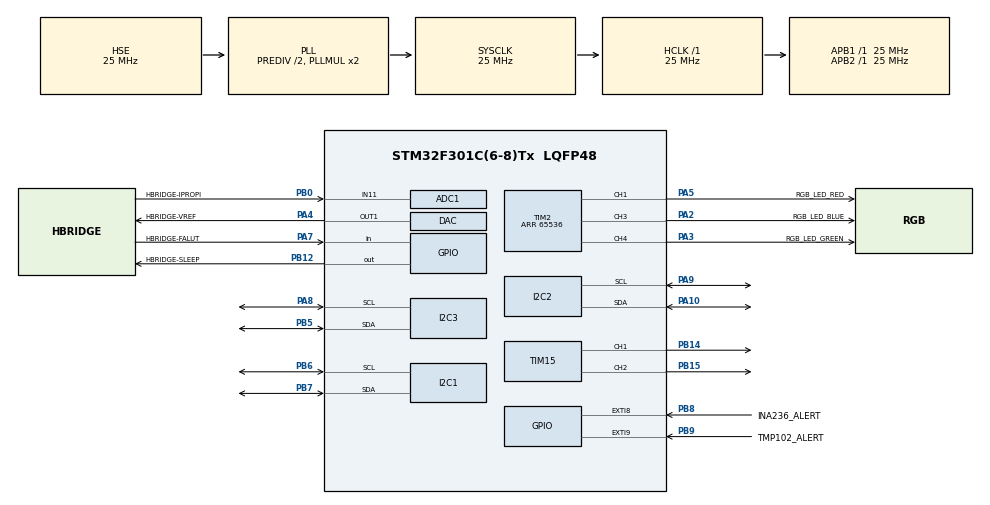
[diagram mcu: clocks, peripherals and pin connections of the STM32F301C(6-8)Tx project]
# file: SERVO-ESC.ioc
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ADC1.Channel-1\#ChannelRegularConversion=ADC_CHANNEL_11
ADC1.NbrOfConversionFlag=1
ADC1.Offset-1\#ChannelRegularConversion=0
ADC1.OffsetNumber-1\#ChannelRegularConversion=ADC_OFFSET_NONE
ADC1.Rank-1\#ChannelRegularConversion=1
ADC1.SamplingTime-1\#ChannelRegularConversion=ADC_SAMPLETIME_1CYCLE_5
ADC1.SamplingTimeOPAMP-1\#ChannelRegularConversion=ADC_SAMPLETIME_4CYCLES_5
ADC1.SubFamily=STM32F301x8
ADC1.master=1
FREERTOS.Tasks01=defaultTask,24,128,StartDefaultTask,Default,NULL,Dynamic,NULL,NULL
I2C1.Timing=0x00201D2B
I2C2.Timing=0x00201D2B
I2C3.Timing=0x00201D2B
Mcu.Family=STM32F3
Mcu.Name=STM32F301C(6-8)Tx
Mcu.Package=LQFP48
NVIC.EXTI9_5_IRQn=true\:5\:0\:false\:false\:true\:true\:true\:true\:true
NVIC.I2C2_ER_IRQn=true\:5\:0\:false\:false\:true\:true\:true\:true\:true
NVIC.I2C2_EV_IRQn=true\:5\:0\:false\:false\:true\:true\:true\:true\:true
NVIC.PriorityGroup=NVIC_PRIORITYGROUP_4
NVIC.TIM6_DAC_IRQn=true\:15\:0\:false\:false\:true\:false\:false\:true\:true
NVIC.TimeBase=TIM6_DAC_IRQn
NVIC.TimeBaseIP=TIM6
PA10.Mode=I2C
PA10.Signal=I2C2_SDA
PA13.Mode=Serial_Wire
PA13.Signal=SYS_JTMS-SWDIO
PA14.Mode=Serial_Wire
PA14.Signal=SYS_JTCK-SWCLK
PA2.GPIO_Label=RGB_LED_BLUE
PA2.Signal=S_TIM2_CH3
PA3.GPIO_Label=RGB_LED_GREEN
PA3.Signal=S_TIM2_CH4
PA4.GPIO_Label=HBRIDGE-VREF
PA4.Signal=COMP_DAC1_group
PA5.GPIO_Label=RGB_LED_RED
PA5.Signal=S_TIM2_CH1_ETR
PA7.GPIO_Label=HBRIDGE-FALUT
PA7.Signal=GPIO_Input
PA8.Mode=I2C
PA8.Signal=I2C3_SCL
PA9.Mode=I2C
PA9.Signal=I2C2_SCL
PB0.GPIO_Label=HBRIDGE-IPROPI
PB0.Mode=IN11-Single-Ended
PB0.Signal=ADC1_IN11
PB12.GPIO_Label=HBRIDGE-SLEEP
PB12.Signal=GPIO_Output
PB14.Signal=S_TIM15_CH1
PB15.Signal=S_TIM15_CH2
PB5.Mode=I2C
PB5.Signal=I2C3_SDA
PB6.Mode=I2C
PB6.Signal=I2C1_SCL
PB7.Mode=I2C
PB7.Signal=I2C1_SDA
PB8.GPIO_Label=INA236_ALERT
PB8.GPIO_ModeDefaultEXTI=GPIO_MODE_IT_FALLING
PB8.Signal=GPXTI8
PB9.GPIO_Label=TMP102_ALERT
PB9.Signal=GPXTI9
PF0-OSC_IN.Mode=HSE-External-Oscillator
PF0-OSC_IN.Signal=RCC_OSC_IN
PF1-OSC_OUT.Mode=HSE-External-Oscillator
PF1-OSC_OUT.Signal=RCC_OSC_OUT
ProjectManager.HeapSize=0x200
ProjectManager.StackSize=0x400
ProjectManager.TargetToolchain=CMake
RCC.AHBFreq_Value=25000000
RCC.APB1Freq_Value=25000000
RCC.APB1TimFreq_Value=25000000
RCC.APB2Freq_Value=25000000
RCC.APB2TimFreq_Value=25000000
RCC.CortexFreq_Value=25000000
RCC.HCLKFreq_Value=25000000
RCC.HSE_VALUE=25000000
RCC.HSI_VALUE=8000000
RCC.LSE_VALUE=32768
RCC.PLLSourceVirtual=RCC_PLLSOURCE_HSE
RCC.RCC_PLLsource_Clock_Source_FROM_HSE=RCC_HSE_PREDIV_DIV2
RCC.SYSCLKFreq_VALUE=25000000
RCC.SYSCLKSourceVirtual=RCC_SYSCLKSOURCE_PLLCLK
SH.COMP_DAC1_group.0=DAC_OUT1,DAC_OUT1
SH.S_TIM15_CH1.0=TIM15_CH1,PWM Generation1 CH1
SH.S_TIM15_CH2.0=TIM15_CH2,PWM Generation2 CH2
SH.S_TIM2_CH1_ETR.0=TIM2_CH1,PWM Generation1 CH1
SH.S_TIM2_CH3.0=TIM2_CH3,PWM Generation3 CH3
SH.S_TIM2_CH4.0=TIM2_CH4,PWM Generation4 CH4
TIM15.Channel-PWM\ Generation1\ CH1=TIM_CHANNEL_1
TIM15.Channel-PWM\ Generation2\ CH2=TIM_CHANNEL_2
TIM2.Channel-PWM\ Generation1\ CH1=TIM_CHANNEL_1
TIM2.Channel-PWM\ Generation3\ CH3=TIM_CHANNEL_3
TIM2.Channel-PWM\ Generation4\ CH4=TIM_CHANNEL_4
TIM2.Period=65536
VP_FREERTOS_VS_CMSIS_V2.Mode=CMSIS_V2
VP_SYS_VS_tim6.Mode=TIM6
board=custom

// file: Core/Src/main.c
/* USER CODE BEGIN Header */
/**
  ******************************************************************************
  * @file           : main.c
  * @brief          : Main program body
  ******************************************************************************
  * @attention
  *
  * Copyright (c) 2026 STMicroelectronics.
  * All rights reserved.
  *
  * This software is licensed under terms that can be found in the LICENSE file
  * in the root directory of this software component.
  * If no LICENSE file comes with this software, it is provided AS-IS.
  *
  ******************************************************************************
  */
/* USER CODE END Header */
#include "main.h"
#include "cmsis_os.h"
#include "stdbool.h"
#include "DRV8876.h"
#include "RGBLED.h"
#include "INA236.h"
#include "MT6701.h"
#include "TMP102.h"
#include "pid.h"
#include "cmsis_os2.h"
#include "stm32f3xx_hal_gpio.h"
#include <stdint.h>
#include <sys/types.h>

#define ina236Flag (1U << 0)
#define tmp102Flag (1U << 1)
ADC_HandleTypeDef hadc1;

DAC_HandleTypeDef hdac;

I2C_HandleTypeDef hi2c1;
I2C_HandleTypeDef hi2c2;
I2C_HandleTypeDef hi2c3;

TIM_HandleTypeDef htim2;
TIM_HandleTypeDef htim15;

void diagnosticsTask(void *argument);
void encoderTask(void *argument);
void driverTask(void *argument);
void pidTask(void *argument);
void i2cslaveTask(void *argument);

/*Diagnostics Task Handle*/
osThreadId_t diagnosticsTaskHandle;
const osThreadAttr_t diagnosticsTask_attr = {
  .name = "Diagnositic Task",
  .stack_size = 128 * 4,
  .priority = (osPriority_t) osPriorityLow,
};
/*MT6701 Encoder Task Handle*/
osThreadId_t encoderTaskHandle;
const osThreadAttr_t encoderTask_attr = {
  .name = "Encoder Task",
  .stack_size = 128 * 4,
  .priority = (osPriority_t) osPriorityNormal,
};
/*DRV8876 Task*/
osThreadId_t driverTaskHandle;
const osThreadAttr_t driverTask_attr = {
  .name = "Driver Task",
  .stack_size = 128 * 4,
  .priority = (osPriority_t) osPriorityNormal,
};

osThreadId_t pidTaskHandle;
const osThreadAttr_t pidTask_attr = {
  .name = "PID Task",
  .stack_size = 128 * 4,
  .priority = (osPriority_t) osPriorityNormal,
};

osThreadId_t i2cslaveTaskHandle;
const osThreadAttr_t i2cslaveTask_attr = {
  .name = "I2C Task",
  .stack_size = 128 * 4,
  .priority = (osPriority_t) osPriorityNormal,
};

/* USER CODE BEGIN PV */
DRV8876 drv;
MT6701 encoder;
RGBLED led;
INA236 ina;
TMP102 tmp;
PID pid;
/* USER CODE END PV */

void SystemClock_Config(void);
static void MX_GPIO_Init(void);
static void MX_ADC1_Init(void);
static void MX_DAC_Init(void);
static void MX_I2C1_Init(void);
static void MX_TIM2_Init(void);
static void MX_I2C3_Init(void);
static void MX_TIM15_Init(void);
static void MX_I2C2_Init(void);

int main(void)
{

  /* MCU Configuration--------------------------------------------------------*/

  /* Reset of all peripherals, Initializes the Flash interface and the Systick. */
  HAL_Init();

  /* Configure the system clock */
  SystemClock_Config();

  /* Initialize all configured peripherals */
  MX_GPIO_Init();

  MX_ADC1_Init();
  MX_DAC_Init();
  MX_I2C1_Init();
  MX_TIM2_Init();
  MX_I2C3_Init();
  MX_TIM15_Init();
  MX_I2C2_Init();
  /* USER CODE BEGIN 2 */
  /* Initializing Drivers */
  INA236_Initialize(&ina, &hi2c1);
  TMP102_Initialize(&tmp, &hi2c1, TMP102_ALERT_GPIO_Port);
  MT6701_Initialize(&encoder, &hi2c3);
  DRV8876_Initialize(&drv, &htim15, &hadc1, &hdac, HBRIDGE_SLEEP_GPIO_Port,HBRIDGE_SLEEP_Pin, HBRIDGE_FALUT_GPIO_Port, HBRIDGE_FALUT_Pin);
  RGBLED_Initialize(&led, &htim2);
  PID_Initialize(&pid, 0.1 , 0.2, 0.3, 0.4, 0.5);
  setVelocity(&drv, 64000);
  /* USER CODE END 2 */

  /* Init scheduler */
  osKernelInitialize();

  /* Create the thread(s) */
  /* creation of defaultTask */

  /* USER CODE BEGIN RTOS_THREADS */
  diagnosticsTaskHandle = osThreadNew(diagnosticsTask,NULL,&diagnosticsTask_attr);
  encoderTaskHandle = osThreadNew(encoderTask,NULL,&encoderTask_attr);
  driverTaskHandle = osThreadNew(driverTask,NULL,&driverTask_attr);
  //pidTaskHandle = osThreadNew(pidTask,NULL,&pidTask_attr);
  //i2cslaveTaskHandle = osThreadNew(i2cslaveTask,NULL,&i2cslaveTask_attr);
  /* add threads, ... */
  /* USER CODE END RTOS_THREADS */

  /* Start scheduler */
  osKernelStart();

  /* We should never get here as control is now taken by the scheduler */

  /* Infinite loop */
  while (1)
  {

  }
}

void diagnosticsTask(void *argument)
{
  for(;;)
  {
    uint32_t flags = osThreadFlagsWait(tmp102Flag | ina236Flag, osFlagsWaitAny, osWaitForever);
      if(flags & tmp102Flag)
      {
        TMP102_Read(&tmp);
      }
      if(flags & ina236Flag)
      {
        INA236_Read(&ina);
      }
  }
}

void encoderTask(void *argument)
{
  for(;;)
  {
    MT6701_Read(&encoder);
    getRPM(&encoder, 10,0.2);
    osDelay(5);
  }
}
void pidTask(void *argument)
{
  for(;;)
  {
    PID_Step(&pid, 7, 8, 5, 5, 4, 4);
    setVelocity(&drv, pid.power);
  }
}

void driverTask(void *argument)
{
    for(;;)
  {
    if(drv.state == SLEEP)
    {
        HAL_GPIO_WritePin(HBRIDGE_SLEEP_GPIO_Port, HBRIDGE_SLEEP_Pin, 0);
    }
    else if(drv.state == COAST)
    {
        //Slows down the motor with a gradual decent.
        HAL_GPIO_WritePin(HBRIDGE_SLEEP_GPIO_Port, HBRIDGE_SLEEP_Pin, 1);
        __HAL_TIM_SET_COMPARE(drv.tim, TIM_CHANNEL_1, 0);
        __HAL_TIM_SET_COMPARE(drv.tim, TIM_CHANNEL_2, 0);
    }
    else if(drv.state == REVERSE)
    {
        /*
        */
        HAL_GPIO_WritePin(HBRIDGE_SLEEP_GPIO_Port, HBRIDGE_SLEEP_Pin, 1);
        __HAL_TIM_SET_COMPARE(drv.tim, TIM_CHANNEL_1, 0);
        __HAL_TIM_SET_COMPARE(drv.tim, TIM_CHANNEL_2, drv.speed);
    }
    else if(drv.state == FORWARD)
    {
        HAL_GPIO_WritePin(HBRIDGE_SLEEP_GPIO_Port, HBRIDGE_SLEEP_Pin, 1);
        __HAL_TIM_SET_COMPARE(drv.tim, TIM_CHANNEL_1, drv.speed);
        __HAL_TIM_SET_COMPARE(drv.tim, TIM_CHANNEL_2, 0);
    }
    else if(drv.state == BRAKE)
    {
        HAL_GPIO_WritePin(HBRIDGE_SLEEP_GPIO_Port, HBRIDGE_SLEEP_Pin, 1);
        __HAL_TIM_SET_COMPARE(drv.tim, TIM_CHANNEL_1, 65535);
        __HAL_TIM_SET_COMPARE(drv.tim, TIM_CHANNEL_2, 0);
    }
    setColor(&led, drv.state);
  }
}
void i2cslaveTask(void *argument)
{

}
void SystemClock_Config(void)
{
  RCC_OscInitTypeDef RCC_OscInitStruct = {0};
  RCC_ClkInitTypeDef RCC_ClkInitStruct = {0};
  RCC_PeriphCLKInitTypeDef PeriphClkInit = {0};

  /** Initializes the RCC Oscillators according to the specified parameters
  * in the RCC_OscInitTypeDef structure.
  */
  RCC_OscInitStruct.OscillatorType = RCC_OSCILLATORTYPE_HSI|RCC_OSCILLATORTYPE_HSE;
  RCC_OscInitStruct.HSEState = RCC_HSE_ON;
  RCC_OscInitStruct.HSEPredivValue = RCC_HSE_PREDIV_DIV2;
  RCC_OscInitStruct.HSIState = RCC_HSI_ON;
  RCC_OscInitStruct.HSICalibrationValue = RCC_HSICALIBRATION_DEFAULT;
  RCC_OscInitStruct.PLL.PLLState = RCC_PLL_ON;
  RCC_OscInitStruct.PLL.PLLSource = RCC_PLLSOURCE_HSE;
  RCC_OscInitStruct.PLL.PLLMUL = RCC_PLL_MUL2;
  if (HAL_RCC_OscConfig(&RCC_OscInitStruct) != HAL_OK)
  {
    Error_Handler();
  }

  /** Initializes the CPU, AHB and APB buses clocks
  */
  RCC_ClkInitStruct.ClockType = RCC_CLOCKTYPE_HCLK|RCC_CLOCKTYPE_SYSCLK
                              |RCC_CLOCKTYPE_PCLK1|RCC_CLOCKTYPE_PCLK2;
  RCC_ClkInitStruct.SYSCLKSource = RCC_SYSCLKSOURCE_PLLCLK;
  RCC_ClkInitStruct.AHBCLKDivider = RCC_SYSCLK_DIV1;
  RCC_ClkInitStruct.APB1CLKDivider = RCC_HCLK_DIV1;
  RCC_ClkInitStruct.APB2CLKDivider = RCC_HCLK_DIV1;

  if (HAL_RCC_ClockConfig(&RCC_ClkInitStruct, FLASH_LATENCY_1) != HAL_OK)
  {
    Error_Handler();
  }
  PeriphClkInit.PeriphClockSelection = RCC_PERIPHCLK_I2C1|RCC_PERIPHCLK_I2C2
                              |RCC_PERIPHCLK_I2C3|RCC_PERIPHCLK_TIM15
                              |RCC_PERIPHCLK_ADC1;
  PeriphClkInit.I2c1ClockSelection = RCC_I2C1CLKSOURCE_HSI;
  PeriphClkInit.I2c2ClockSelection = RCC_I2C2CLKSOURCE_HSI;
  PeriphClkInit.I2c3ClockSelection = RCC_I2C3CLKSOURCE_HSI;
  PeriphClkInit.Tim15ClockSelection = RCC_TIM15CLK_HCLK;
  PeriphClkInit.Adc1ClockSelection = RCC_ADC1PLLCLK_DIV1;

  if (HAL_RCCEx_PeriphCLKConfig(&PeriphClkInit) != HAL_OK)
  {
    Error_Handler();
  }
}

static void MX_ADC1_Init(void)
{

  ADC_ChannelConfTypeDef sConfig = {0};

  /** Common config
  */
  hadc1.Instance = ADC1;
  hadc1.Init.ClockPrescaler = ADC_CLOCK_ASYNC_DIV1;
  hadc1.Init.Resolution = ADC_RESOLUTION_12B;
  hadc1.Init.ScanConvMode = ADC_SCAN_DISABLE;
  hadc1.Init.ContinuousConvMode = DISABLE;
  hadc1.Init.DiscontinuousConvMode = DISABLE;
  hadc1.Init.ExternalTrigConvEdge = ADC_EXTERNALTRIGCONVEDGE_NONE;
  hadc1.Init.ExternalTrigConv = ADC_SOFTWARE_START;
  hadc1.Init.DataAlign = ADC_DATAALIGN_RIGHT;
  hadc1.Init.NbrOfConversion = 1;
  hadc1.Init.DMAContinuousRequests = DISABLE;
  hadc1.Init.EOCSelection = ADC_EOC_SINGLE_CONV;
  hadc1.Init.LowPowerAutoWait = DISABLE;
  hadc1.Init.Overrun = ADC_OVR_DATA_OVERWRITTEN;
  if (HAL_ADC_Init(&hadc1) != HAL_OK)
  {
    Error_Handler();
  }

  /** Configure Regular Channel
  */
  sConfig.Channel = ADC_CHANNEL_11;
  sConfig.Rank = ADC_REGULAR_RANK_1;
  sConfig.SingleDiff = ADC_SINGLE_ENDED;
  sConfig.SamplingTime = ADC_SAMPLETIME_1CYCLE_5;
  sConfig.OffsetNumber = ADC_OFFSET_NONE;
  sConfig.Offset = 0;
  if (HAL_ADC_ConfigChannel(&hadc1, &sConfig) != HAL_OK)
  {
    Error_Handler();
  }

}

static void MX_DAC_Init(void)
{

  DAC_ChannelConfTypeDef sConfig = {0};

  /** DAC Initialization
  */
  hdac.Instance = DAC;
  if (HAL_DAC_Init(&hdac) != HAL_OK)
  {
    Error_Handler();
  }

  /** DAC channel OUT1 config
  */
  sConfig.DAC_Trigger = DAC_TRIGGER_NONE;
  sConfig.DAC_OutputBuffer = DAC_OUTPUTBUFFER_ENABLE;
  if (HAL_DAC_ConfigChannel(&hdac, &sConfig, DAC_CHANNEL_1) != HAL_OK)
  {
    Error_Handler();
  }

}

static void MX_I2C1_Init(void)
{

  hi2c1.Instance = I2C1;
  hi2c1.Init.Timing = 0x00201D2B;
  hi2c1.Init.OwnAddress1 = 0;
  hi2c1.Init.AddressingMode = I2C_ADDRESSINGMODE_7BIT;
  hi2c1.Init.DualAddressMode = I2C_DUALADDRESS_DISABLE;
  hi2c1.Init.OwnAddress2 = 0;
  hi2c1.Init.OwnAddress2Masks = I2C_OA2_NOMASK;
  hi2c1.Init.GeneralCallMode = I2C_GENERALCALL_DISABLE;
  hi2c1.Init.NoStretchMode = I2C_NOSTRETCH_DISABLE;
  if (HAL_I2C_Init(&hi2c1) != HAL_OK)
  {
    Error_Handler();
  }

  /** Configure Analogue filter
  */
  if (HAL_I2CEx_ConfigAnalogFilter(&hi2c1, I2C_ANALOGFILTER_ENABLE) != HAL_OK)
  {
    Error_Handler();
  }

  /** Configure Digital filter
  */
  if (HAL_I2CEx_ConfigDigitalFilter(&hi2c1, 0) != HAL_OK)
  {
    Error_Handler();
  }

}

static void MX_I2C2_Init(void)
{

  hi2c2.Instance = I2C2;
  hi2c2.Init.Timing = 0x00201D2B;
  hi2c2.Init.OwnAddress1 = 0;
  hi2c2.Init.AddressingMode = I2C_ADDRESSINGMODE_7BIT;
  hi2c2.Init.DualAddressMode = I2C_DUALADDRESS_DISABLE;
  hi2c2.Init.OwnAddress2 = 0;
  hi2c2.Init.OwnAddress2Masks = I2C_OA2_NOMASK;
  hi2c2.Init.GeneralCallMode = I2C_GENERALCALL_DISABLE;
  hi2c2.Init.NoStretchMode = I2C_NOSTRETCH_DISABLE;
  if (HAL_I2C_Init(&hi2c2) != HAL_OK)
  {
    Error_Handler();
  }

  /** Configure Analogue filter
  */
  if (HAL_I2CEx_ConfigAnalogFilter(&hi2c2, I2C_ANALOGFILTER_ENABLE) != HAL_OK)
  {
    Error_Handler();
  }

  /** Configure Digital filter
  */
  if (HAL_I2CEx_ConfigDigitalFilter(&hi2c2, 0) != HAL_OK)
  {
    Error_Handler();
  }

}

static void MX_I2C3_Init(void)
{

  hi2c3.Instance = I2C3;
  hi2c3.Init.Timing = 0x00201D2B;
  hi2c3.Init.OwnAddress1 = 0;
  hi2c3.Init.AddressingMode = I2C_ADDRESSINGMODE_7BIT;
  hi2c3.Init.DualAddressMode = I2C_DUALADDRESS_DISABLE;
  hi2c3.Init.OwnAddress2 = 0;
  hi2c3.Init.OwnAddress2Masks = I2C_OA2_NOMASK;
  hi2c3.Init.GeneralCallMode = I2C_GENERALCALL_DISABLE;
  hi2c3.Init.NoStretchMode = I2C_NOSTRETCH_DISABLE;
  if (HAL_I2C_Init(&hi2c3) != HAL_OK)
  {
    Error_Handler();
  }

  /** Configure Analogue filter
  */
  if (HAL_I2CEx_ConfigAnalogFilter(&hi2c3, I2C_ANALOGFILTER_ENABLE) != HAL_OK)
  {
    Error_Handler();
  }

  /** Configure Digital filter
  */
  if (HAL_I2CEx_ConfigDigitalFilter(&hi2c3, 0) != HAL_OK)
  {
    Error_Handler();
  }

}

static void MX_TIM2_Init(void)
{

  TIM_MasterConfigTypeDef sMasterConfig = {0};
  TIM_OC_InitTypeDef sConfigOC = {0};

  htim2.Instance = TIM2;
  htim2.Init.Prescaler = 0;
  htim2.Init.CounterMode = TIM_COUNTERMODE_UP;
  htim2.Init.Period = 65536;
  htim2.Init.ClockDivision = TIM_CLOCKDIVISION_DIV1;
  htim2.Init.AutoReloadPreload = TIM_AUTORELOAD_PRELOAD_DISABLE;
  if (HAL_TIM_PWM_Init(&htim2) != HAL_OK)
  {
    Error_Handler();
  }
  sMasterConfig.MasterOutputTrigger = TIM_TRGO_RESET;
  sMasterConfig.MasterSlaveMode = TIM_MASTERSLAVEMODE_DISABLE;
  if (HAL_TIMEx_MasterConfigSynchronization(&htim2, &sMasterConfig) != HAL_OK)
  {
    Error_Handler();
  }
  sConfigOC.OCMode = TIM_OCMODE_PWM1;
  sConfigOC.Pulse = 0;
  sConfigOC.OCPolarity = TIM_OCPOLARITY_HIGH;
  sConfigOC.OCFastMode = TIM_OCFAST_DISABLE;
  if (HAL_TIM_PWM_ConfigChannel(&htim2, &sConfigOC, TIM_CHANNEL_1) != HAL_OK)
  {
    Error_Handler();
  }
  if (HAL_TIM_PWM_ConfigChannel(&htim2, &sConfigOC, TIM_CHANNEL_3) != HAL_OK)
  {
    Error_Handler();
  }
  if (HAL_TIM_PWM_ConfigChannel(&htim2, &sConfigOC, TIM_CHANNEL_4) != HAL_OK)
  {
    Error_Handler();
  }
  HAL_TIM_MspPostInit(&htim2);

}

static void MX_TIM15_Init(void)
{

  TIM_MasterConfigTypeDef sMasterConfig = {0};
  TIM_OC_InitTypeDef sConfigOC = {0};
  TIM_BreakDeadTimeConfigTypeDef sBreakDeadTimeConfig = {0};

  htim15.Instance = TIM15;
  htim15.Init.Prescaler = 0;
  htim15.Init.CounterMode = TIM_COUNTERMODE_UP;
  htim15.Init.Period = 65535;
  htim15.Init.ClockDivision = TIM_CLOCKDIVISION_DIV1;
  htim15.Init.RepetitionCounter = 0;
  htim15.Init.AutoReloadPreload = TIM_AUTORELOAD_PRELOAD_DISABLE;
  if (HAL_TIM_PWM_Init(&htim15) != HAL_OK)
  {
    Error_Handler();
  }
  sMasterConfig.MasterOutputTrigger = TIM_TRGO_RESET;
  sMasterConfig.MasterSlaveMode = TIM_MASTERSLAVEMODE_DISABLE;
  if (HAL_TIMEx_MasterConfigSynchronization(&htim15, &sMasterConfig) != HAL_OK)
  {
    Error_Handler();
  }
  sConfigOC.OCMode = TIM_OCMODE_PWM1;
  sConfigOC.Pulse = 0;
  sConfigOC.OCPolarity = TIM_OCPOLARITY_HIGH;
  sConfigOC.OCNPolarity = TIM_OCNPOLARITY_HIGH;
  sConfigOC.OCFastMode = TIM_OCFAST_DISABLE;
  sConfigOC.OCIdleState = TIM_OCIDLESTATE_RESET;
  sConfigOC.OCNIdleState = TIM_OCNIDLESTATE_RESET;
  if (HAL_TIM_PWM_ConfigChannel(&htim15, &sConfigOC, TIM_CHANNEL_1) != HAL_OK)
  {
    Error_Handler();
  }
  if (HAL_TIM_PWM_ConfigChannel(&htim15, &sConfigOC, TIM_CHANNEL_2) != HAL_OK)
  {
    Error_Handler();
  }
  sBreakDeadTimeConfig.OffStateRunMode = TIM_OSSR_DISABLE;
  sBreakDeadTimeConfig.OffStateIDLEMode = TIM_OSSI_DISABLE;
  sBreakDeadTimeConfig.LockLevel = TIM_LOCKLEVEL_OFF;
  sBreakDeadTimeConfig.DeadTime = 0;
  sBreakDeadTimeConfig.BreakState = TIM_BREAK_DISABLE;
  sBreakDeadTimeConfig.BreakPolarity = TIM_BREAKPOLARITY_HIGH;
  sBreakDeadTimeConfig.BreakFilter = 0;
  sBreakDeadTimeConfig.AutomaticOutput = TIM_AUTOMATICOUTPUT_DISABLE;
  if (HAL_TIMEx_ConfigBreakDeadTime(&htim15, &sBreakDeadTimeConfig) != HAL_OK)
  {
    Error_Handler();
  }
  HAL_TIM_MspPostInit(&htim15);

}

static void MX_GPIO_Init(void)
{
  GPIO_InitTypeDef GPIO_InitStruct = {0};

  /* GPIO Ports Clock Enable */
  __HAL_RCC_GPIOF_CLK_ENABLE();
  __HAL_RCC_GPIOA_CLK_ENABLE();
  __HAL_RCC_GPIOB_CLK_ENABLE();

  /*Configure GPIO pin Output Level */
  HAL_GPIO_WritePin(HBRIDGE_SLEEP_GPIO_Port, HBRIDGE_SLEEP_Pin, GPIO_PIN_RESET);

  /*Configure GPIO pin : HBRIDGE_FALUT_Pin */
  GPIO_InitStruct.Pin = HBRIDGE_FALUT_Pin;
  GPIO_InitStruct.Mode = GPIO_MODE_INPUT;
  GPIO_InitStruct.Pull = GPIO_NOPULL;
  HAL_GPIO_Init(HBRIDGE_FALUT_GPIO_Port, &GPIO_InitStruct);

  /*Configure GPIO pin : HBRIDGE_SLEEP_Pin */
  GPIO_InitStruct.Pin = HBRIDGE_SLEEP_Pin;
  GPIO_InitStruct.Mode = GPIO_MODE_OUTPUT_PP;
  GPIO_InitStruct.Pull = GPIO_NOPULL;
  GPIO_InitStruct.Speed = GPIO_SPEED_FREQ_LOW;
  HAL_GPIO_Init(HBRIDGE_SLEEP_GPIO_Port, &GPIO_InitStruct);

  /*Configure GPIO pin : INA236_ALERT_Pin */
  GPIO_InitStruct.Pin = INA236_ALERT_Pin;
  GPIO_InitStruct.Mode = GPIO_MODE_IT_FALLING;
  GPIO_InitStruct.Pull = GPIO_NOPULL;
  HAL_GPIO_Init(INA236_ALERT_GPIO_Port, &GPIO_InitStruct);

  /*Configure GPIO pin : TMP102_ALERT_Pin */
  GPIO_InitStruct.Pin = TMP102_ALERT_Pin;
  GPIO_InitStruct.Mode = GPIO_MODE_IT_FALLING;
  GPIO_InitStruct.Pull = GPIO_NOPULL;
  HAL_GPIO_Init(TMP102_ALERT_GPIO_Port, &GPIO_InitStruct);

  /* EXTI interrupt init*/
  HAL_NVIC_SetPriority(EXTI9_5_IRQn, 5, 0);
  HAL_NVIC_EnableIRQ(EXTI9_5_IRQn);

}
void HAL_GPIO_EXTI_Callback(uint16_t GPIO_Pin)
{
  if(GPIO_Pin == TMP102_ALERT_Pin) {
    osThreadFlagsSet(diagnosticsTaskHandle, tmp102Flag);
  }
  if(GPIO_Pin == INA236_ALERT_Pin) {
      osThreadFlagsSet(diagnosticsTaskHandle, ina236Flag);
      setColor(&led, 1);
  }
}
void HAL_TIM_PeriodElapsedCallback(TIM_HandleTypeDef *htim)
{
  if (htim->Instance == TIM6)
  {
    HAL_IncTick();
  }
}

void Error_Handler(void)
{
  __disable_irq();
  while (1)
  {
  }
}
